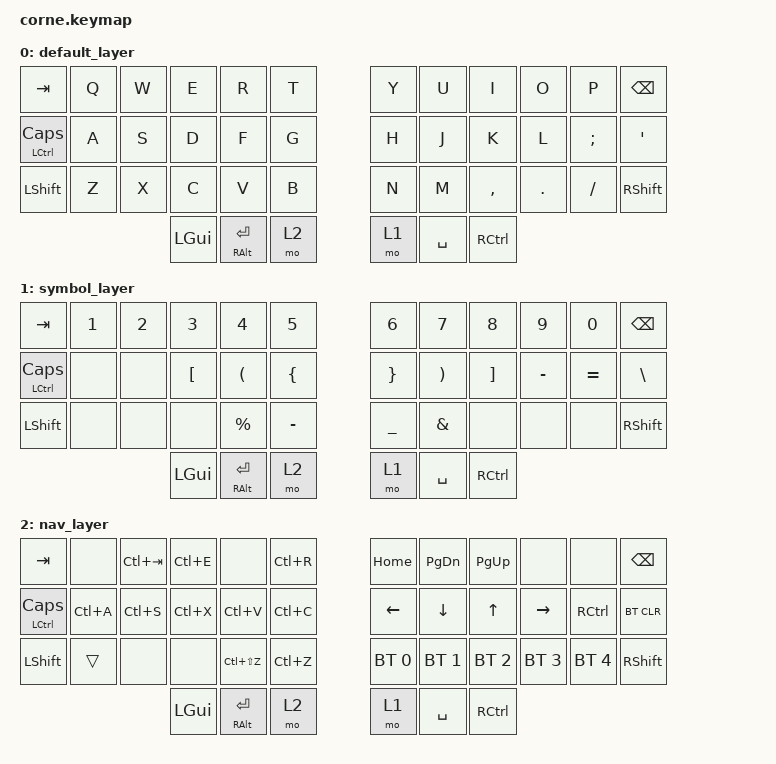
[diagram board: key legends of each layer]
/*
 * Copyright (c) 2020 The ZMK Contributors
 *
 * SPDX-License-Identifier: MIT
 */

#include <behaviors.dtsi>
#include <dt-bindings/zmk/bt.h>
#include <dt-bindings/zmk/keys.h>

/ {
    keymap {
        compatible = "zmk,keymap";

        default_layer {
            bindings = <
       &kp TAB  &kp Q  &kp W     &kp E              &kp R  &kp T    &kp Y      &kp U      &kp I    &kp O     &kp P         &kp BSPC
&mt LCTRL CAPS  &kp A  &kp S     &kp D              &kp F  &kp G    &kp H      &kp J      &kp K    &kp L  &kp SEMI          &kp SQT
     &kp LSHFT  &kp Z  &kp X     &kp C              &kp V  &kp B    &kp N      &kp M  &kp COMMA  &kp DOT  &kp FSLH  &kp RIGHT_SHIFT
                              &kp LGUI  &mt RIGHT_ALT RET  &mo 2    &mo 1  &kp SPACE  &kp RCTRL
            >;
        };

        symbol_layer {
            bindings = <
       &kp TAB  &kp N1  &kp N2    &kp N3             &kp N4     &kp N5       &kp N6     &kp N7     &kp N8     &kp N9     &kp N0         &kp BSPC
&mt LCTRL CAPS   &none   &none  &kp LBKT           &kp LPAR   &kp LBRC     &kp RBRC   &kp RPAR   &kp RBKT  &kp MINUS  &kp EQUAL    &kp BACKSLASH
     &kp LSHFT   &none   &none     &none        &kp PERCENT  &kp MINUS    &kp UNDER   &kp AMPS      &none      &none      &none  &kp RIGHT_SHIFT
                                &kp LGUI  &mt RIGHT_ALT RET      &mo 2        &mo 1  &kp SPACE  &kp RCTRL
            >;
        };

        nav_layer {
            bindings = <
       &kp TAB      &none  &kp LC(TAB)  &kp LC(E)              &none  &kp LC(R)        &kp HOME     &kp PG_DN     &kp PG_UP         &none         &none         &kp BSPC
&mt LCTRL CAPS  &kp LC(A)    &kp LC(S)  &kp LC(X)          &kp LC(V)  &kp LC(C)        &kp LEFT      &kp DOWN        &kp UP     &kp RIGHT     &kp RCTRL         &bt BT_CLR
     &kp LSHFT     &trans        &none      &none      &kp LC(LS(Z))  &kp LC(Z)    &bt BT_SEL 0  &bt BT_SEL 1  &bt BT_SEL 2  &bt BT_SEL 3  &bt BT_SEL 4  &kp RIGHT_SHIFT
                                         &kp LGUI  &mt RIGHT_ALT RET      &mo 2           &mo 1     &kp SPACE     &kp RCTRL
            >;
        };
    };
};
